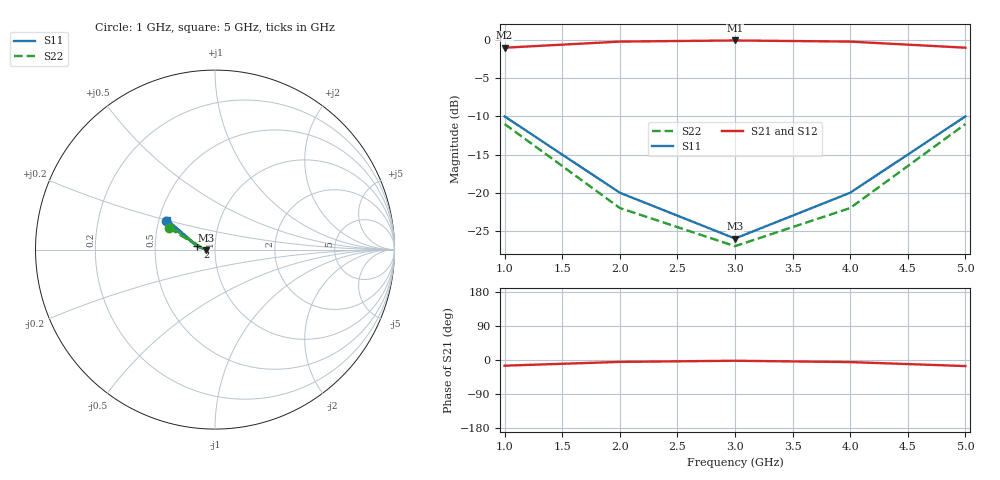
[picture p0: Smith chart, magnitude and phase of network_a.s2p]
! Network A: 2-port bandpass filter characteristic
! Simulated S-parameters
! Reference impedance: 50 ohm
# GHz S DB R 50
! Freq  S11_dB  ang(S11) S21_dB  ang(S21) S12_dB  ang(S12) S22_dB  ang(S22)
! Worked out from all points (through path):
!   5 points, 1 GHz to 5 GHz, reference 50 ohm
!   highest |S21| = -0.05 dB at 3 GHz (marker M1); lowest = -1.0 dB at 1 GHz (marker M2)
!   lowest |S11| = -26.0 dB at 3 GHz (marker M3), VSWR 1.11, Z = 45.2 - j0.159 ohm
!   |S11| at or under -10 dB: start of sweep to end of sweep
!   |S22| runs from -27.0 to -11.0 dB; largest |S21 - S12| = 0
!   S11 on the Smith chart (normalised r, x): 1 GHz: 0.55, +0.19; 2 GHz: 0.82, +0.03; 5 GHz: 0.55, +0.20
1  -10.00 150.0  -1.00 -15.0  -1.00 -15.0  -11.00 155.0
2  -20.00 170.0  -0.20 -5.0  -0.20 -5.0  -22.00 172.0
3  -26.00 -178.0  -0.05 -2.0  -0.05 -2.0  -27.00 -176.0
4  -20.00 168.0  -0.20 -5.5  -0.20 -5.5  -22.00 170.0
5  -10.00 148.0  -1.00 -16.0  -1.00 -16.0  -11.00 153.0
